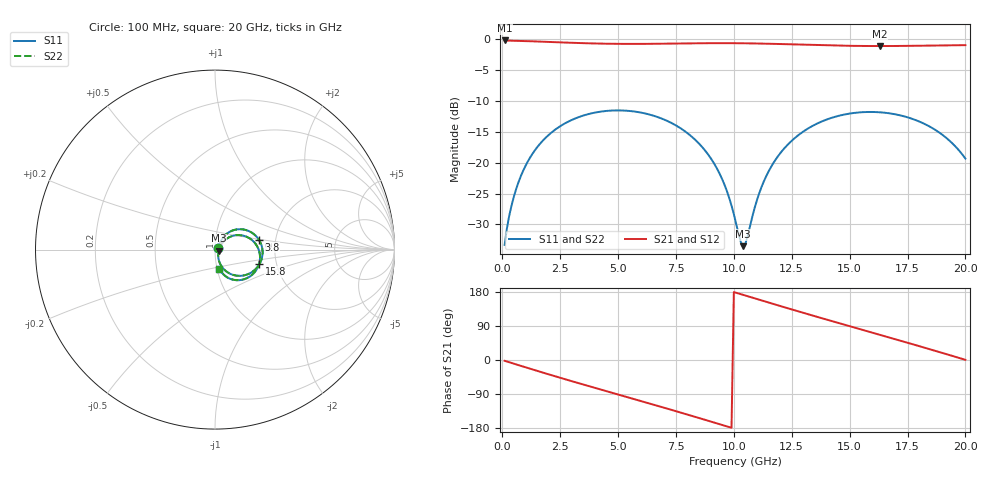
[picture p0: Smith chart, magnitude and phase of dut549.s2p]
! Touchstone file exported from HFSS 2026.1.0
!  File:  C:/ffzhzh/LocalFiles/Ansys_Project_Files/temp_train_TSV_RDL_549_1783114628_35180.aedt
!  Generated:  05:49:06 AM Jul  4, 2026
!  Design:  TSV_RDL
!  Project:  temp_train_TSV_RDL_549_1783114628_35180
! Variables:
!  h_bsmrdl = 4.69um
!  h_ox = 20um
!  h_rdl = 5um
!  h_sub = 75.5um
!  h_tmrdl = 5.86um
!  h_tsv = 75.5um
!  h_via = 3um
!  l_bsmrdl = 699.51um
!  l_sub = 6274.62um
!  l_tmrdl = 907.94um
!  m_sub = 200um
!  pitch = 36.92um
!  r_tsv = 8.46um
!  s_tmrdl = 10um
!  w_bsmrdl = 20.78um
!  w_sub = 500um
!  w_tmrdl = 27.33um
!  x_tsv_center1 = 921.605um
!  x_tsv_center2 = 1641.895um
!  x_tsv_center3 = 2577.165um
!  x_tsv_center4 = 3297.455um
!  x_tsv_center5 = 4232.725um
!  x_tsv_center6 = 4953.015um
# GHz S MA R 50.000000
! Terminal data exported
! Port[1] = TM_RDL1_1_T1
! Port[2] = TM_RDL5_1_T1
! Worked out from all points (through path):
!   200 points, 100 MHz to 20 GHz, reference 50 ohm
!   highest |S21| = -0.16 dB at 100 MHz (marker M1); lowest = -1.1 dB at 16.3 GHz (marker M2)
!   group delay of S21, straight-line fit = 49.8 ps
!   lowest |S11| = -33.5 dB at 10.4 GHz (marker M3), VSWR 1.04, Z = 52.1 - j0.594 ohm
!   |S11| at or under -10 dB: start of sweep to end of sweep
!   |S22| runs from -33.4 to -11.5 dB; largest |S21 - S12| = 9.3e-14
!   S11 on the Smith chart (normalised r, x): 100 MHz: 1.04, +0.02; 3.8 GHz: 1.63, +0.19; 15.8 GHz: 1.62, -0.28; 20 GHz: 1.03, -0.22
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0.1  0.02159 31.2  0.9819 -2.1  0.9819 -2.1  0.02159 31.2
! Gamma 0 0 0 0
! Port Impedance 50 0 50 0
0.5  0.05316 55.1  0.9761 -9.7  0.9761 -9.7  0.05316 55.1
1.2  0.1103 53.4  0.9679 -23.0  0.9679 -23.0  0.1103 53.4
2.2  0.1807 39.0  0.9523 -41.5  0.9523 -41.5  0.1807 39.0
3.5  0.2417 17.7  0.9332 -64.8  0.9332 -64.8  0.2417 17.8
3.8  0.2505 12.8  0.9299 -70.0  0.9299 -70.0  0.2505 12.8
5.3  0.265 -11.6  0.9209 -96.2  0.9209 -96.2  0.265 -11.6
6.8  0.2317 -35.7  0.9236 -122.6  0.9236 -122.6  0.2316 -35.6
8.9  0.116 -66.4  0.9332 -160.5  0.9332 -160.5  0.116 -66.3
9.6  0.06615 -70.6  0.9339 -173.4  0.9339 -173.4  0.0662 -70.4
10.1  0.03212 -56.9  0.9329 177.4  0.9329 177.4  0.03223 -56.6
10.4  0.02109 -15.7  0.9317 171.9  0.9317 171.9  0.02128 -15.6
11.1  0.05692 42.8  0.9272 158.9  0.9272 158.9  0.057 42.7
11.6  0.0921 42.6  0.9227 149.8  0.9227 149.8  0.09215 42.6
12.4  0.1449 33.7  0.914 135.2  0.914 135.2  0.1449 33.7
13.4  0.1992 19.2  0.9024 117.4  0.9024 117.4  0.1993 19.2
14.6  0.2423 0.7  0.891 96.2  0.891 96.2  0.2423 0.7
15.8  0.2584 -18.1  0.8851 75.3  0.8851 75.3  0.2584 -18.0
16.3  0.2569 -25.9  0.8846 66.6  0.8846 66.6  0.2569 -25.8
16.7  0.2522 -32.1  0.8849 59.6  0.8849 59.6  0.2522 -32.0
18.5  0.1947 -59.3  0.8925 27.8  0.8925 27.8  0.1948 -59.2
20  0.1082 -76.9  0.8996 0.5  0.8996 0.5  0.1083 -76.6
